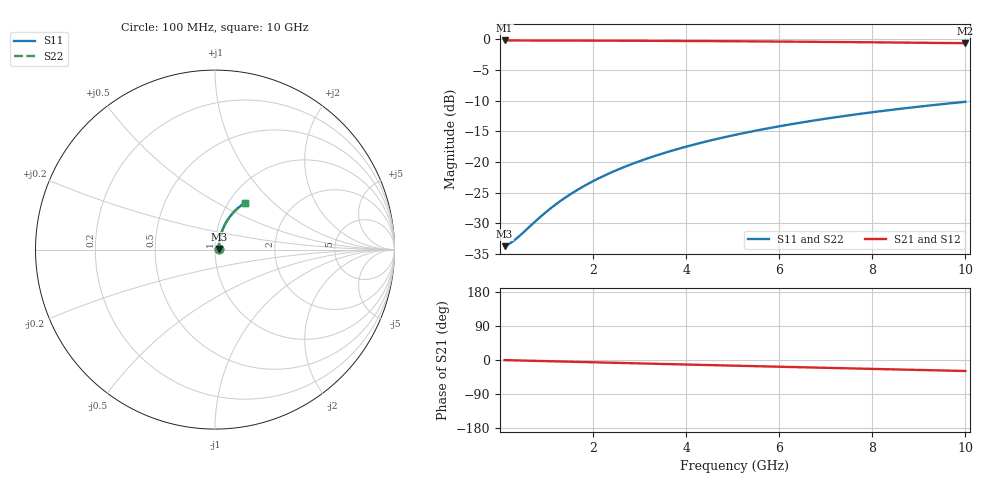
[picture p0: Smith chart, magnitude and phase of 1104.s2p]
# Hz S RI R 50.00
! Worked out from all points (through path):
!   100 points, 100 MHz to 10 GHz, reference 50 ohm
!   highest |S21| = -0.18 dB at 100 MHz (marker M1); lowest = -0.6 dB at 10 GHz (marker M2)
!   group delay of S21, straight-line fit = 8.08 ps
!   lowest |S11| = -33.7 dB at 100 MHz (marker M3), VSWR 1.04, Z = 52.1 + j0.336 ohm
!   |S11| at or under -10 dB: start of sweep to end of sweep
!   |S22| runs from -33.7 to -10.2 dB; largest |S21 - S12| = 0
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1e8  0.0203 0.00323  0.9797 -0.00512  0.9797 -0.00512  0.0203 0.00323
2e8  0.0205 0.00645  0.9795 -0.0102  0.9795 -0.0102  0.0205 0.00645
3e8  0.0207 0.00968  0.9793 -0.0154  0.9793 -0.0154  0.0207 0.00968
4e8  0.0209 0.0129  0.9791 -0.0205  0.9791 -0.0205  0.0209 0.0129
9e8  0.0222 0.029  0.9776 -0.046  0.9776 -0.046  0.0222 0.029
1.2e9  0.0234 0.0386  0.9763 -0.0613  0.9763 -0.0613  0.0234 0.0386
1.5e9  0.0249 0.0481  0.9747 -0.0765  0.9747 -0.0765  0.0249 0.0481
1.8e9  0.0266 0.0576  0.9728 -0.0917  0.9728 -0.0917  0.0266 0.0576
2.1e9  0.0286 0.067  0.9705 -0.1068  0.9705 -0.1068  0.0286 0.067
2.5e9  0.0318 0.0794  0.967 -0.1268  0.967 -0.1268  0.0318 0.0794
2.9e9  0.0354 0.0917  0.963 -0.1467  0.963 -0.1467  0.0354 0.0917
3.4e9  0.0407 0.1067  0.9572 -0.1713  0.9572 -0.1713  0.0407 0.1067
3.8e9  0.0454 0.1185  0.9519 -0.1907  0.9519 -0.1907  0.0454 0.1185
4.2e9  0.0506 0.1301  0.9461 -0.2098  0.9461 -0.2098  0.0506 0.1301
4.6e9  0.0563 0.1414  0.9398 -0.2288  0.9398 -0.2288  0.0563 0.1414
5.1e9  0.064 0.1551  0.9312 -0.252  0.9312 -0.252  0.064 0.1551
5.9e9  0.0776 0.176  0.916 -0.2882  0.916 -0.2882  0.0776 0.176
6.7e9  0.0927 0.1956  0.899 -0.3232  0.899 -0.3232  0.0927 0.1956
7.5e9  0.1092 0.2137  0.8803 -0.3566  0.8803 -0.3566  0.1092 0.2137
8.4e9  0.1291 0.2323  0.8577 -0.3925  0.8577 -0.3925  0.1291 0.2323
9.2e9  0.148 0.2471  0.8362 -0.4227  0.8362 -0.4227  0.148 0.2471
1e10  0.1676 0.2602  0.8136 -0.4513  0.8136 -0.4513  0.1676 0.2602
